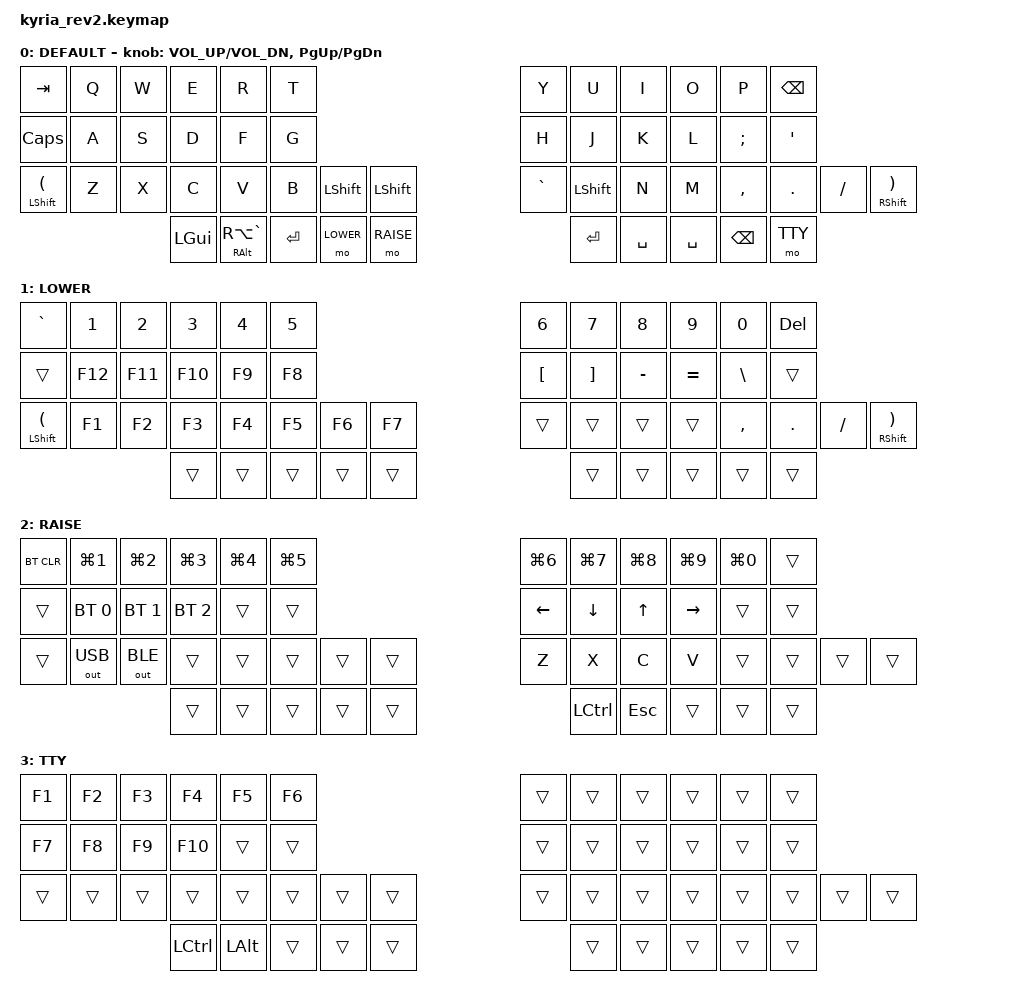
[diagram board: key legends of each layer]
/*
 * Copyright (c) 2020 The ZMK Contributors
 *
 * SPDX-License-Identifier: MIT
 */

#include <behaviors.dtsi>
#include <dt-bindings/zmk/keys.h>
#include <dt-bindings/zmk/outputs.h>
#include <dt-bindings/zmk/bt.h>

#define DEFAULT 0
#define LOWER   1
#define RAISE   2
#define TTY     3

/ {
    keymap {
        compatible = "zmk,keymap";

        default_layer {
            label = "DEFAULT";
            bindings = <
    &kp TAB         &kp Q &kp W &kp E &kp R &kp T                            &kp Y &kp U  &kp I     &kp O   &kp P    &kp BSPC
    &kp CAPS   &kp A &kp S &kp D &kp F &kp G                            &kp H &kp J  &kp K     &kp L   &kp SEMI &kp SQT
    &mt LSHFT LPAR  &kp Z &kp X &kp C &kp V &kp B &kp LSHFT &kp LSHFT        &kp GRAVE &kp LSHFT &kp N &kp M  &kp COMMA &kp DOT &kp FSLH &mt RSHFT RPAR
                    &kp LGUI &mt RALT RA(GRAVE) &kp RET &mo LOWER &mo RAISE        &kp RET  &kp SPACE  &kp SPACE &kp BSPC &mo TTY
            >;

            sensor-bindings = <&inc_dec_kp C_VOL_UP C_VOL_DN &inc_dec_kp PG_UP PG_DN>;
        };

        lower_layer {
            label = "LOWER";
            bindings = <
    &kp GRAVE        &kp N1 &kp N2 &kp N3 &kp N4 &kp N5                      &kp N6 &kp N7 &kp N8 &kp N9 &kp N0 &kp DEL
    &trans           &kp F12 &kp F11 &kp F10 &kp F9 &kp F8                                  &kp LBKT &kp RBKT &kp MINUS &kp EQUAL &kp BSLH &trans
    &mt LSHFT LPAR  &kp F1  &kp F2  &kp F3  &kp F4 &kp F5 &kp F6 &kp F7                           &trans &trans &trans   &trans   &kp COMMA &kp DOT &kp FSLH &mt RSHFT RPAR
                    &trans &trans &trans &trans &trans                    &trans &trans &trans   &trans   &trans
            >;
        };

        raise_layer {
            label = "RAISE";
            bindings = <
    &bt BT_CLR &kp LG(N1) &kp LG(N2) &kp LG(N3) &kp LG(N4) &kp LG(N5)                                &kp LG(N6) &kp LG(N7) &kp LG(N8) &kp LG(N9) &kp LG(N0) &trans
    &trans &bt BT_SEL 0 &bt BT_SEL 1 &bt BT_SEL 2 &trans &trans                                &kp LEFT &kp DOWN &kp UP &kp RIGHT &trans &trans
    &trans &out OUT_USB &out OUT_BLE &trans &trans &trans &trans &trans                  &kp Z &kp X &kp C &kp V &trans &trans &trans &trans
                         &trans &trans &trans &trans &trans                  &kp LCTRL &kp ESC &trans &trans &trans
            >;
        };

        tty_layer {
            label = "TTY";
            bindings = <
    &kp F1 &kp F2 &kp F3 &kp F4 &kp F5 &kp F6                                &trans &trans &trans &trans &trans &trans
    &kp F7 &kp F8 &kp F9 &kp F10 &trans &trans                                &trans &trans &trans &trans &trans &trans
    &trans &trans &trans &trans &trans &trans &trans &trans                  &trans &trans &trans &trans &trans &trans &trans &trans
                         &kp LCTRL &kp LALT &trans &trans &trans                  &trans &trans &trans &trans &trans
            >;
        };
    };
};
